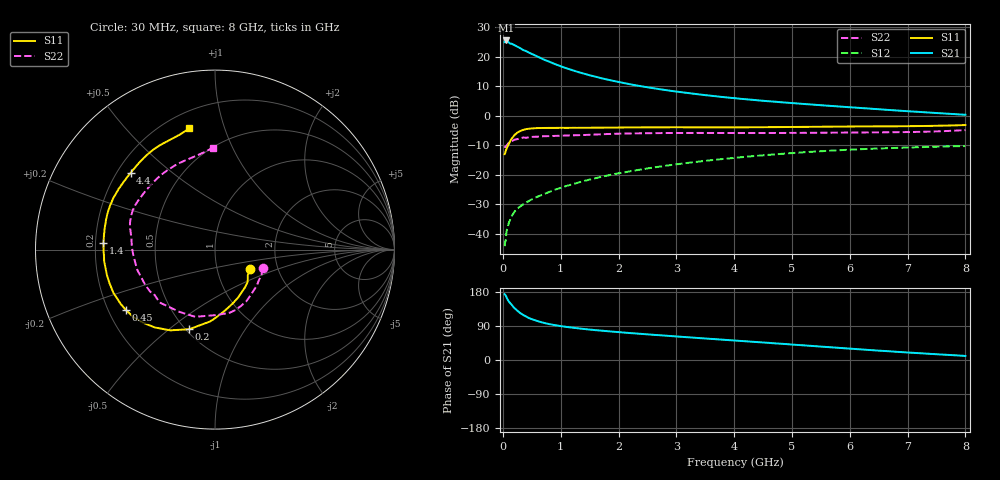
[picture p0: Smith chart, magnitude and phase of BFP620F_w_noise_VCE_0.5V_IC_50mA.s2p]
! Infineon Technologies  Discrete & RF Semiconductors
! BFP620F
! VCE =  0.5 V,  IC =  50 mA
! Common Emitter S-Parameters:  Dec 2014
# GHz  S  MA  R  50
!  f  S11  S21  S12  S22
! GHz  MAG  ANG  MAG  ANG  MAG  ANG  MAG  ANG
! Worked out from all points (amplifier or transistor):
!   95 points, 30 MHz to 8 GHz, reference 50 ohm
!   highest |S21| = 25.5 dB at 50 MHz (marker M1)
!   |S21| within 3 dB of that: start of sweep to 330.7 MHz
!   unconditionally stable (mu >= 1): start of sweep to 189.4 MHz; 920.5 MHz to end of sweep
!   at 300 MHz: K = 0.86, MSG = 26.9 dB, |S12| = -30.8 dB
!   at 3.3 GHz: K = 1.09, MAG = 9.8 dB, |S12| = -15.8 dB
!   at 8 GHz: K = 1.11, MAG = 3.3 dB, |S12| = -10.3 dB
!   lowest NFmin = 1.55 dB at 450 MHz
!   S11 on the Smith chart (normalised r, x): 30 MHz: 1.44, -0.33; 200 MHz: 0.52, -0.59; 450 MHz: 0.27, -0.29; 1.4 GHz: 0.23, +0.03; 4.4 GHz: 0.25, +0.36; 8 GHz: 0.30, +0.77
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0.03  0.2226 -29.5  17.61 173.6  0.0061 58.8  0.2852 -21.1
0.04  0.2314 -37.8  17.67 171.9  0.0072 61.0  0.2941 -28.1
0.05  0.2552 -44.4  18.84 170.1  0.0077 56.9  0.2983 -34.9
0.07  0.2815 -58.4  18.57 163.1  0.0117 63.6  0.3145 -47.2
0.09  0.3111 -70.2  17.92 157.4  0.0135 62.3  0.3368 -58.8
0.12  0.3567 -84.1  16.83 151.2  0.0165 61.6  0.3608 -76.7
0.15  0.4031 -94.4  16.58 146.1  0.0195 59.8  0.3655 -90.2
0.2  0.4666 -108.0  15.71 136.8  0.0234 55.3  0.3905 -106.5
0.3  0.5482 -127.7  13.95 123.8  0.0288 53.7  0.4097 -128.9
0.35  0.5718 -134.6  12.96 118.9  0.0312 53.8  0.4268 -136.3
0.45  0.5992 -145.6  11.73 110.6  0.0356 54.2  0.4304 -147.0
0.6  0.6153 -157.2  10.05 102.6  0.0422 55.8  0.4395 -159.9
0.8  0.6186 -167.0  8.244 94.8  0.0506 57.5  0.4491 -169.3
1.1  0.6195 -176.8  6.355 87.3  0.0641 59.2  0.4601 -179.5
1.4  0.6226 176.4  5.162 81.9  0.0776 59.4  0.469 173.1
2  0.6276 166.1  3.727 73.6  0.1051 57.7  0.4942 163.5
2.7  0.6341 157.0  2.818 65.5  0.1359 54.0  0.5049 156.7
4.1  0.634 140.9  1.935 50.4  0.1959 43.9  0.506 143.3
4.4  0.6355 137.7  1.821 47.3  0.2082 41.5  0.5065 139.8
5.4  0.6467 128.0  1.527 36.5  0.2456 32.8  0.5117 127.3
6.7  0.6587 114.9  1.243 22.8  0.281 21.2  0.5226 110.3
8  0.6916 101.9  1.033 10.7  0.3044 10.5  0.5674 91.1
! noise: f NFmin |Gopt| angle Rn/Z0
0.45  1.55  0.23  -171  0.17
0.9  1.58  0.23  -171  0.15
1.5  1.6  0.27  -155  0.1
1.8  1.61  0.27  -153  0.1
1.9  1.62  0.27  -151  0.1
2.4  1.63  0.27  214  0.11
3.5  1.71  0.28  221  0.13
5.5  1.82  0.32  252  0.22
6  1.84  0.32  261  0.28
